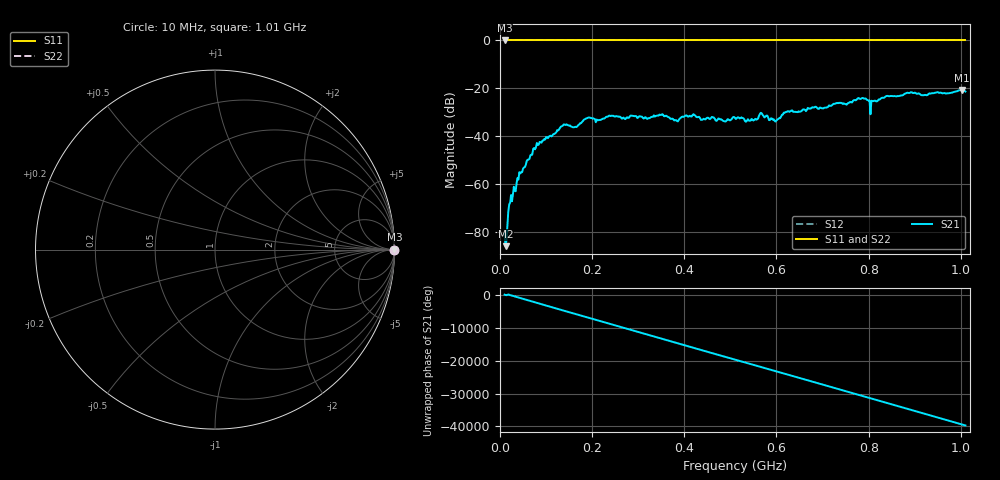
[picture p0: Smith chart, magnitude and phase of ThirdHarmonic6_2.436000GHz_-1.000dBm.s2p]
! 8/17/2025 4:15:22 AM
! C:\ANRITSUVNA\TEMP\TEMP.S2P
! CHANNEL.1
! TR.MEASUREMENT
! RAW.DATA
! RF.CORRECTION.OFF
! AVERAGING.OFF
! IF.BANDWIDTH: 5KHZ
! SWEEPTYPE:  FREQ.SWEEP(Linear)
! Reference Plane Port Info
! PORT:  PORT1  PORT2
! DISTANCE:  0  m  0  m
! TIME:  0  s  0  s
! PHASE.OFFSET:  0  deg.  0  deg.
! LOSS:  0  dB  0  dB
! REF.LOSS:  0  dB  0  dB
! REF.FREQ:  0  Hz  0  Hz
! Power Info
! POWER:  -20  dBm  -20  dBm
! EFF.POWER:  -20  dBm  -20  dBm
! SOURCE.ATTEN:  0  dB  0  dB
! TEST.ATTEN:  0  dB  0  dB
# GHZ S RI R 50.0
! FREQ.GHZ  S11RE  S11IM  S21RE  S21IM  S12RE  S12IM  S22RE  S22IM
!; PortSelection: Port_12
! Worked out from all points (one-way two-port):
!   501 points, 10 MHz to 1.01 GHz, reference 50 ohm
!   highest |S21| = -20.73 dB at 1.002 GHz (marker M1); lowest = -86.0 dB at 12 MHz (marker M2)
!   lowest |S11| = 0.0 dB at 10 MHz (marker M3)
!   |S11| at or under -10 dB: nowhere
!   |S22| runs from 0.0 to 0.0 dB; largest |S21 - S12| = 1.1
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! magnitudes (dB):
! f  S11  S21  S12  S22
! 10 MHz  0.0  -80.3  0.0  0.0
! 12 MHz  0.0  -86.0  0.0  0.0
! 22 MHz  0.0  -67.7  0.0  0.0
! 40 MHz  0.0  -58.2  0.0  0.0
! 76 MHz  0.0  -45.5  0.0  0.0
! 136 MHz  0.0  -35.7  0.0  0.0
! 162 MHz  0.0  -36.2  0.0  0.0
! 178 MHz  0.0  -34.1  0.0  0.0
! 344 MHz  0.0  -31.4  0.0  0.0
! 382 MHz  0.0  -33.3  0.0  0.0
! 420 MHz  0.0  -30.9  0.0  0.0
! 510 MHz  0.0  -32.4  0.0  0.0
! 554 MHz  0.0  -32.8  0.0  0.0
! 568 MHz  0.0  -30.5  0.0  0.0
! 600 MHz  0.0  -33.4  0.0  0.0
! 620 MHz  0.0  -29.9  0.0  0.0
! 678 MHz  0.0  -27.9  0.0  0.0
! 782 MHz  0.0  -24.5  0.0  0.0
! 808 MHz  0.0  -25.3  0.0  0.0
! 844 MHz  0.0  -23.3  0.0  0.0
! 1.002 GHz  0.0  -20.7  0.0  0.0
! 1.01 GHz  0.0  -21.3  0.0  0.0
